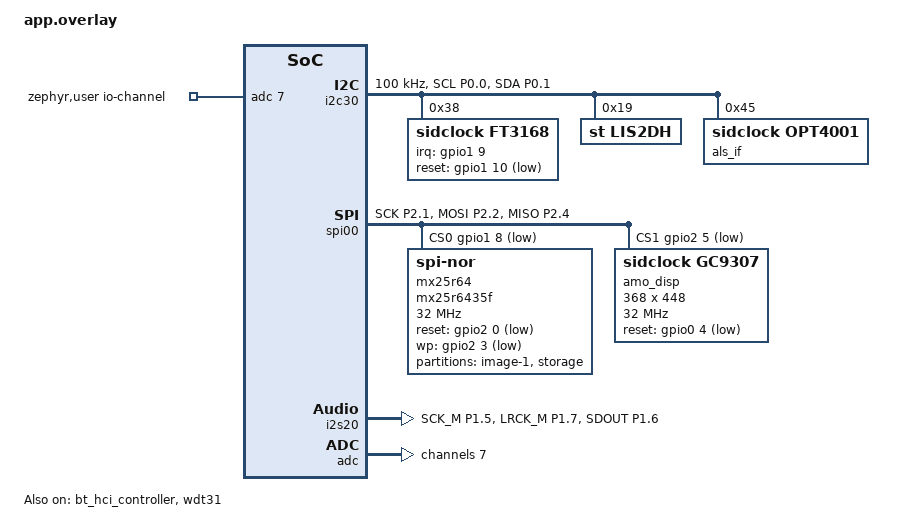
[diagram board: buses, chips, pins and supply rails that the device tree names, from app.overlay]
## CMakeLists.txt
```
cmake_minimum_required(VERSION 3.20.0)

find_package(Zephyr REQUIRED HINTS $ENV{ZEPHYR_BASE})
project(sidclock)

# The panel driver is out-of-tree (custom SPI framing); compile it with the
# application.
# SID emulator selection: "crsid" (default, cRSID-1.58 Light, integer-only,
# more accurate), "csid" (the original cSID-light) or "dual" (both linked,
# per-tune switchable at runtime sharing one 64 KB C64 RAM - only one runs
# at a time). For A/B comparison or heavy-tune fallback.
# From build.sh (-DSIDCLOCK_SID_ENGINE=, env-backed) or plain CMake -D; the
# cache persists across rebuilds (change with -D, not the environment).
if(NOT SIDCLOCK_SID_ENGINE MATCHES "^(csid|dual|crsid)$")
    set(SIDCLOCK_SID_ENGINE "$ENV{SIDCLOCK_SID_ENGINE}")
endif()
if(NOT SIDCLOCK_SID_ENGINE MATCHES "^(csid|dual|crsid)$")
    set(SIDCLOCK_SID_ENGINE "dual")
endif()
message(STATUS "SidClock SID engine: ${SIDCLOCK_SID_ENGINE}")

if(SIDCLOCK_SID_ENGINE STREQUAL "csid")
    set(SID_ENGINE_SRCS src/sid/libcsidlight.cpp)
    set(SID_ENGINE_FLAGS "-O3;-funroll-loops")
    set(SID_ENGINE_SUFFIX "-csid")
elseif(SIDCLOCK_SID_ENGINE STREQUAL "dual")
    set(SID_ENGINE_SRCS src/sid/libcrsid_shim.c src/sid/crsid/libcRSID.c src/sid/libcsidlight.cpp)
    set(SID_ENGINE_FLAGS "-O3;-funroll-loops")
    set(SID_ENGINE_SUFFIX "")
    target_compile_definitions(app PRIVATE SID_ENGINE_DUAL)
else()
    set(SID_ENGINE_SRCS src/sid/libcrsid_shim.c src/sid/crsid/libcRSID.c)
    set(SID_ENGINE_FLAGS "-O3;-funroll-loops;-std=gnu99")
    set(SID_ENGINE_SUFFIX "-crsid")
endif()
target_compile_definitions(app PRIVATE SID_ENGINE_SUFFIX="${SID_ENGINE_SUFFIX}")
# Split engine (M33 CPU + FLPR SID): adds the hooks in the vendored core.
target_compile_definitions(app PRIVATE CRSID_SPLIT)

target_sources(app PRIVATE
    src/main.c
    src/display_gc9307.c
    src/opt400x.c
    src/audio.c
    src/flpr.c
    src/md5.c
    src/sid_player.cpp
    ${SID_ENGINE_SRCS}
)

# FLPR (VPR RISC-V) shared-memory contract (flpr/flpr_shared.h) and the
# embedded bare-metal blob. The blob is linked straight in with .incbin
# (flpr/flpr_blob.S) - no per-byte C source. build.sh builds it first and
# passes its absolute path.
target_include_directories(app PRIVATE ${CMAKE_CURRENT_SOURCE_DIR}/flpr)
if(NOT DEFINED FLPR_BLOB_BIN)
    message(FATAL_ERROR
        "FLPR_BLOB_BIN is not set - build the FLPR blob first (app/build.sh)")
endif()
target_sources(app PRIVATE flpr/flpr_blob.S)
target_compile_definitions(app PRIVATE
    "FLPR_BLOB_FILE=\"${FLPR_BLOB_BIN}\"")
# .incbin is invisible to the compiler's depfile: make the object depend
# on the binary explicitly, or a rebuilt blob would not relink.
set_source_files_properties(flpr/flpr_blob.S PROPERTIES
    OBJECT_DEPENDS "${FLPR_BLOB_BIN}")

# The SID emulator is the only real-time-critical code in the app.
# "-O3;-funroll-loops" was A/B-proven on this M33 with the old core and
# re-validated for the cRSID core under M33 emulation (bit-identical output,
# ~1% faster than plain -O3). Render time is visible in debug bytes
# [13]/[14] (microseconds per 512 samples).
# The cRSID core also needs -std=gnu99 (it uses old-style declarations,
# which are hard errors under the toolchain default C23).
if(SIDCLOCK_SID_ENGINE STREQUAL "csid")
    set_source_files_properties(src/sid/libcsidlight.cpp
        PROPERTIES COMPILE_OPTIONS "${SID_ENGINE_FLAGS}")
elseif(SIDCLOCK_SID_ENGINE STREQUAL "dual")
    set_source_files_properties(src/sid/crsid/libcRSID.c
        PROPERTIES COMPILE_OPTIONS "-O3;-funroll-loops;-std=gnu99")
    # Dual build: the legacy core's libcsid_* API and shared globals are
    # renamed so the shim can dispatch between both engines; its C64 RAM
    # aliases cRSID's (see SID_ENGINE_DUAL in libcsidlight.cpp).
    set_source_files_properties(src/sid/libcsidlight.cpp
        PROPERTIES COMPILE_OPTIONS "-O3;-funroll-loops"
        COMPILE_DEFINITIONS "SID_ENGINE_DUAL;libcsid_init=csid_init;libcsid_free=csid_free;libcsid_load=csid_load;libcsid_play=csid_play;libcsid_render=csid_render;libcsid_getauthor=csid_getauthor;libcsid_getinfo=csid_getinfo;libcsid_gettitle=csid_gettitle;libcsid_get_total_tunes_number=csid_get_total_tunes_number;libcsid_get_default_tune_number=csid_get_default_tune_number;libcsid_stream_fill=csid_stream_fill;subtune=csid_subtune;SID_model=csid_SID_model;sid_frame_calls=csid_frame_calls;sid_cpu_calls=csid_sid_cpu_calls")
else()
    set_source_files_properties(src/sid/crsid/libcRSID.c
        PROPERTIES COMPILE_OPTIONS "${SID_ENGINE_FLAGS}")
endif()

# Version string shown on the display; build.sh passes -DSIDCLOCK_VERSION=<x.y.z>
# and uses the same value for the MCUboot image header.
if(NOT DEFINED SIDCLOCK_VERSION)
    set(SIDCLOCK_VERSION "dev")
endif()
target_compile_definitions(app PRIVATE SIDCLOCK_VERSION="${SIDCLOCK_VERSION}")

# Debug build (build.sh: SIDCLOCK_DEBUG=1 ./build.sh): compiles the bring-up
# test commands (test tones, rate/tone ladders, raw MCKFREQ) back in and
# selects the larger RTT log buffer via app/prj_debug.conf. Release builds
# leave them out (-0.5 KB RAM, and no test surface on a shipped unit) and
# show no suffix; debug images show "-dbg" next to the version. The signed
# image version stays the same either way, so OTA compares like-for-like.
if(SIDCLOCK_DEBUG)
    set(SIDCLOCK_DEBUG_SUFFIX "-dbg")
    target_compile_definitions(app PRIVATE SIDCLOCK_DEBUG=1)
else()
    set(SIDCLOCK_DEBUG_SUFFIX "")
endif()
message(STATUS "SidClock debug build: ${SIDCLOCK_DEBUG_SUFFIX}")
target_compile_definitions(app PRIVATE SIDCLOCK_DEBUG_SUFFIX="${SIDCLOCK_DEBUG_SUFFIX}")
```

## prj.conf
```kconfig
# SidClock — Zephyr application configuration

# --- logging over SEGGER RTT (no UART on this board) ---
CONFIG_USE_SEGGER_RTT=y
CONFIG_LOG=y
CONFIG_LOG_BACKEND_RTT=y
# The software BLE link layer does not allow immediate logging, and the RTT
# backend must not block. OVERWRITE (not DROP) keeps the *newest* lines in
# the up-buffer: when a line does not fit it discards the oldest unread
# bytes, where DROP would keep that stale text and throw every new line
# away. The buffer is read back over BLE by the `1E` debug command
# (tools/sidclock_ble.py log) - nothing else drains it.
CONFIG_LOG_BACKEND_RTT_MODE_OVERWRITE=y
CONFIG_LOG_DEFAULT_LEVEL=3
# Keep DBG messages (e.g. one line per SPI transaction) out of the build so
# the RTT buffer is not flooded by display traffic.
CONFIG_LOG_MAX_LEVEL=3
# RTT buffer in the shared region at the start of RAM (.rtt_buff_data,
# CONFIG_SEGGER_RTT_SECTION_CUSTOM): MCUboot writes its boot decision into
# the same buffer before it starts the app, and the app keeps a valid
# control block instead of re-initialising one (CONFIG_SEGGER_RTT_INIT_MODE_
# STRONG_CHECK), so a reset's log starts with the bootloader's lines. The
# size must be identical in the app and in the bootloader: it decides where
# the control block sits (the up-buffer comes first), and a mismatch would
# put the two images' control blocks at different addresses. Debug builds
# use the same size (app/prj_debug.conf no longer changes it).
CONFIG_SEGGER_RTT_BUFFER_SIZE_UP=8192

CONFIG_MAIN_STACK_SIZE=4096
# No dynamic allocation anywhere in the app: nothing in the image calls
# malloc()/k_malloc()/k_calloc()/operator new (verified in the linked ELF),
# so the 8 KB system heap was dead weight - keep it out of RAM.
# See docs/architecture.md ("RAM budget").
CONFIG_HEAP_MEM_POOL_SIZE=0

# --- thread stack diagnostics: per-thread high-water marks for the
# stack-overflow hunt + MPU guard pages turning a silent overflow into a
# diagnosable HardFault (watch RAM: ~860 B free). The 0x1D telemetry walks
# the thread list itself (see main.c), so the thread analyzer subsys is not
# needed - only the pieces it used to select.
CONFIG_INIT_STACKS=y
CONFIG_THREAD_MONITOR=y
CONFIG_THREAD_STACK_INFO=y
CONFIG_THREAD_NAME=y
CONFIG_HW_STACK_PROTECTION=y

# --- hang safety net: independent watchdog (30 s, fed from the main loop)
# plus retained crash telemetry (see main.c). Any wedged thread stops the
# loop (directly or via a stuck lock) and reboots instead of freezing.
CONFIG_WATCHDOG=y
CONFIG_HWINFO=y

# --- display ---
CONFIG_DISPLAY=y

# --- buses ---
CONFIG_SPI=y
CONFIG_I2C=y

# --- external flash (OTA secondary slot) ---
CONFIG_FLASH=y
CONFIG_FLASH_MAP=y
CONFIG_FLASH_PAGE_LAYOUT=y
CONFIG_SPI_NOR=y
CONFIG_SPI_NOR_SFDP_RUNTIME=y
# The MX25R64 reports 64 KB blocks by default, but the slot (0x151000) is not
# a multiple of 64 KB. With 64 KB "pages" the progressive-erase trailer
# scramble erases past the end of the slot (FLASH_WRITE_FAILED) and slot
# erases can spill into the LittleFS partition. 4 KB matches the hardware
# sector size and the bootloader build.
CONFIG_SPI_NOR_FLASH_LAYOUT_PAGE_SIZE=4096

# --- accelerometer ---
CONFIG_SENSOR=y
CONFIG_LIS2DH=y

# --- battery monitor (nRF SAADC, AIN7) ---
CONFIG_ADC=y

# --- speaker: I2S to the amplifier (AW88082 pinout in app.overlay) ---
CONFIG_I2S=y

# --- power management ---
# The nRF54L15 port of this Zephyr tree does not implement the system PM
# subsystem (no HAS_PM), so CONFIG_PM / CONSTLAT idle states are not
# available. The kernel still runs WFI in its idle thread and uses a
# tickless clock (TICKLESS_CAPABLE default).
CONFIG_TICKLESS_KERNEL=y

# --- Bluetooth + MCUmgr (BLE OTA) ---
CONFIG_BT=y
CONFIG_BT_PERIPHERAL=y
CONFIG_BT_DEVICE_NAME="SidClock"
# No mbedTLS in this minimal setup; host crypto is not needed for
# advertising + unpaired MCUmgr/SMP. bt_rand() is provided by the app
# through the controller (see main.c).
CONFIG_BT_HOST_CRYPTO=n
CONFIG_BT_SMP=n
# PSA crypto RNG driver would need mbedTLS; the split LL gets entropy
# through CONFIG_ENTROPY_BT_HCI instead.
CONFIG_ENTROPY_PSA_CRYPTO_RNG=n
CONFIG_BT_L2CAP_TX_MTU=247
CONFIG_BT_BUF_ACL_RX_SIZE=251
CONFIG_BT_BUF_ACL_TX_SIZE=251

# OTA throughput: the split link layer defaults (27-byte data length,
# 1 RX buffer) cripple uploads; DLE + more buffers fix the throughput.
CONFIG_BT_CTLR_DATA_LENGTH_MAX=251
CONFIG_BT_CTLR_RX_BUFFERS=8
CONFIG_BT_BUF_ACL_TX_COUNT=8
CONFIG_BT_PERIPHERAL_PREF_MIN_INT=12
CONFIG_BT_PERIPHERAL_PREF_MAX_INT=12
CONFIG_BT_PERIPHERAL_PREF_TIMEOUT=400
CONFIG_BT_USER_DATA_LEN_UPDATE=y
CONFIG_BT_USER_PHY_UPDATE=y
# Runtime (un)registration of the mcumgr SMP service - the UI's BLE R/O
# and BLE OFF modes drop OTA/file/os-mgmt over BLE.
CONFIG_BT_GATT_DYNAMIC_DB=y

CONFIG_MCUMGR=y
CONFIG_MCUMGR_TRANSPORT_BT=y
CONFIG_MCUMGR_GRP_IMG=y
CONFIG_MCUMGR_GRP_OS=y
# Report the local SMP buffer size via the "MCUmgr parameters" command.
# Without it, smpmgr falls back to the ATT MTU (247 B) for packet sizing and
# each round trip only carries ~220 B of image data.
CONFIG_MCUMGR_GRP_OS_MCUMGR_PARAMS=y
# Accept SMP packets split across multiple GATT writes (needed for >247 B
# packets while the ATT MTU stays 247).
CONFIG_MCUMGR_TRANSPORT_BT_REASSEMBLY=y
CONFIG_MCUMGR_TRANSPORT_NETBUF_SIZE=2048
CONFIG_MCUMGR_TRANSPORT_WORKQUEUE_STACK_SIZE=4096
# zcbor CBOR library (dependency of MCUmgr; the module is in ZEPHYR_MODULES)
CONFIG_ZCBOR=y

CONFIG_IMG_MANAGER=y
CONFIG_STREAM_FLASH=y
# Erase the secondary slot page-by-page while receiving, instead of erasing
# the whole slot (985 KB, 10+ s) inside the first upload request.
CONFIG_IMG_ERASE_PROGRESSIVELY=y
CONFIG_REBOOT=y

# Chain-loaded by MCUboot: link the app at code-partition + 0x800 header,
# matching the bootloader's image layout (0x800 header before the vectors).
CONFIG_USE_DT_CODE_PARTITION=y
CONFIG_ROM_START_OFFSET=0x800

# No UART on this board - the DK console UART (uart20) claims the I2S
# amplifier pins (P1.04/P1.06). Logging goes over SEGGER RTT.
CONFIG_SERIAL=n

# LittleFS on the external MX25R64 ("storage" partition), served over BLE
# by MCUmgr fs_mgmt (smpmgr file ...) for uploading tunes and settings.
CONFIG_FILE_SYSTEM=y
CONFIG_FILE_SYSTEM_LITTLEFS=y
CONFIG_MCUMGR_GRP_FS=y
CONFIG_MCUMGR_GRP_FS_MAX_FILE_SIZE_4GB=y
CONFIG_FLASH_MAP=y
# LittleFS metadata walks were the hidden cost behind the listing stutter:
# a 64-byte cache made /home scans a burst of tiny SPI reads (~0.5 s for
# ~90 files). 256 bytes cuts that ~4x (and uploads program 256-byte
# chunks instead of 16) for ~1.1 KB of RAM. 1024 bytes was measured too:
# no further gain for the listing walk, so the RAM stays with the app.
CONFIG_FS_LITTLEFS_CACHE_SIZE=256
# File-access hooks: fs_mgmt uploads restart the /home listing walk, so a
# refresh right after an upload sees the new file.
CONFIG_MCUMGR_MGMT_NOTIFICATION_HOOKS=y
CONFIG_MCUMGR_GRP_FS_FILE_ACCESS_HOOK=y

# C++ (vendored cSID-light SID emulator)
CONFIG_CPP=y

# FLPR (VPR RISC-V) bare-metal blob: it must NOT start at boot
# (NORDIC_VPR_LAUNCHER=n). The blob starts on demand - debug command
# 0x30 for testing; see app/flpr.overlay and docs/flpr.md.
CONFIG_NORDIC_VPR_LAUNCHER=n

# Hardware FPU: the SID emulator's hot paths are single-precision float
# (6510 cycle accounting, SID filter). With soft-float a 512-sample render
# took ~30 ms - over the 23 ms EasyDMA buffer period - so the DMA starved
# and kept replaying buffers (audible as a slow, stuttering tune).
CONFIG_FPU=y

# Crash resilience while bringing up the SID player. The debug GATT
# callbacks run on the BT RX workqueue: the /home listing page and file
# delete walk LittleFS there, they alone use ~800 B on top of the host's
# own frames, and 2048 B once overflowed under a web session (the
# listing now serves pages from RAM, see main.c). 2560 leaves ~1.7 KB
# free after a delete.
CONFIG_BT_RX_STACK_SIZE=2560
```

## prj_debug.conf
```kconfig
# SidClock - debug build fragment (SIDCLOCK_DEBUG=1 ./build.sh)
#
# This fragment is only applied for debug builds; the default build is the
# slimmer release configuration (see prj.conf). It is the place for options
# that cost RAM and are only useful while bringing something up or chasing a
# bug on the bench:
#
#   * SIDCLOCK_DEBUG switches on the bring-up test commands in the firmware
#     (test tones, rate/tone ladders, raw MCKFREQ - see audio.c and main.c),
#     which the release builds compile out.
#
# The SEGGER RTT log buffer size is *not* changed here: it lives in the
# shared RAM region both the bootloader and the app use, and the control
# block's address depends on it, so release and debug must keep the same
# value (see the comment in prj.conf).
#
# Debug images show "-dbg" in the on-display version string; the signed image
# version stays the same, so OTA still compares like-for-like.
```

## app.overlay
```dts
/*
 * SidClock hardware overlay for the Saphe T device (nRF54L15):
 * pin map and flash partition layout.
 */

#include <zephyr/dt-bindings/gpio/gpio.h>
#include <zephyr/dt-bindings/i2c/i2c.h>
#include <zephyr/dt-bindings/pinctrl/nrf-pinctrl.h>
#include <zephyr/dt-bindings/adc/adc.h>
#include <zephyr/dt-bindings/adc/nrf-saadc-nrf54l.h>

/ {
	chosen {
		zephyr,code-partition = &slot0_partition;
		zephyr,display = &amo_disp;
		/* use the built-in split LL and the controller-based RNG,
		 * not the (unavailable) SoftDevice Controller / PSA RNG */
		zephyr,bt-hci = &bt_hci_controller;
		zephyr,entropy = &rng_hci;
	};

	/* Battery monitor channel (AIN7) */
	zephyr,user {
		io-channels = <&adc 7>;
	};
};

/* ---------------- internal RRAM partitions ---------------- */
&cpuapp_rram {
	partitions {
		/* drop the nRF54L15-DK defaults */
		/delete-node/ partition@0;
		/delete-node/ partition@10000;
		/delete-node/ partition@61000;
		/delete-node/ partition@b2000;
		/delete-node/ partition@103000;
		/delete-node/ partition@15c000;

		boot_partition: partition@0 {
			label = "mcuboot";
			reg = <0x0 0xE000>;
		};

		slot0_partition: partition@E000 {
			label = "image-0";
			reg = <0xE000 0x151000>;
		};
	};
};

/* ---------------- pin control ---------------- */
&pinctrl {
	i2c30_default: i2c30_default {
		group1 {
			psels = <NRF_PSEL(TWIM_SCL, 0, 0)>,
				<NRF_PSEL(TWIM_SDA, 0, 1)>;
			bias-pull-up;
			nordic,drive-mode = <NRF_DRIVE_S0D1>;
		};
	};

	i2c30_sleep: i2c30_sleep {
		group1 {
			psels = <NRF_PSEL(TWIM_SCL, 0, 0)>,
				<NRF_PSEL(TWIM_SDA, 0, 1)>;
			low-power-enable;
		};
	};

	spi00_default: spi00_default {
		group1 {
			psels = <NRF_PSEL(SPIM_SCK,  2, 1)>,
				<NRF_PSEL(SPIM_MOSI, 2, 2)>,
				<NRF_PSEL(SPIM_MISO, 2, 4)>;
			nordic,drive-mode = <NRF_DRIVE_E0E1>;
		};
	};

	spi00_sleep: spi00_sleep {
		group1 {
			psels = <NRF_PSEL(SPIM_SCK,  2, 1)>,
				<NRF_PSEL(SPIM_MOSI, 2, 2)>,
				<NRF_PSEL(SPIM_MISO, 2, 4)>;
			low-power-enable;
		};
	};

	/* I2S20 to the speaker amplifier. AW88082 pinout (rev 1/2/default):
	 * SCK P1.05, LRCK P1.07, SDOUT P1.06. Amp enable (P1.04) is a plain
	 * GPIO driven by the audio module, not part of this pinctrl.
	 */
	i2s20_aw_default: i2s20_aw_default {
		group1 {
			psels = <NRF_PSEL(I2S_SCK_M,  1, 5)>,
				<NRF_PSEL(I2S_LRCK_M, 1, 7)>,
				<NRF_PSEL(I2S_SDOUT,  1, 6)>;
			nordic,drive-mode = <NRF_DRIVE_H0H1>;
		};
	};

	i2s20_aw_sleep: i2s20_aw_sleep {
		group1 {
			psels = <NRF_PSEL(I2S_SCK_M,  1, 5)>,
				<NRF_PSEL(I2S_LRCK_M, 1, 7)>,
				<NRF_PSEL(I2S_SDOUT,  1, 6)>;
			low-power-enable;
		};
	};
};

/* ---------------- Bluetooth controller (split LL) ---------------- */
&bt_hci_controller {
	status = "okay";
};

/* ---------------- I2C30: touch + accelerometer ---------------- */
&i2c30 {
	status = "okay";
	pinctrl-0 = <&i2c30_default>;
	pinctrl-1 = <&i2c30_sleep>;
	pinctrl-names = "default", "sleep";
	clock-frequency = <I2C_BITRATE_STANDARD>;

	ft3168: touch@38 {
		compatible = "sidclock,ft3168";
		reg = <0x38>;
		irq-gpios   = <&gpio1 9  GPIO_ACTIVE_HIGH>;
		reset-gpios = <&gpio1 10 GPIO_ACTIVE_LOW>;
		status = "okay";
	};

	lis2dh: accel@19 {
		compatible = "st,lis2dh";
		reg = <0x19>;
		status = "okay";
	};

	als_if: als_if@45 {
		compatible = "sidclock,opt4001";
		reg = <0x45>;
		status = "okay";
	};
};

/* ---------------- SPIM00: display + external flash ---------------- */
&spi00 {
	status = "okay";
	pinctrl-0 = <&spi00_default>;
	pinctrl-1 = <&spi00_sleep>;
	pinctrl-names = "default", "sleep";

	cs-gpios = <&gpio1 8 GPIO_ACTIVE_LOW>,   /* flash   */
		   <&gpio2 5 GPIO_ACTIVE_LOW>;   /* display */

	/* external MX25R64: OTA secondary slot */
	mx25r64: mx25r6435f@0 {
		compatible = "jedec,spi-nor";
		status = "okay";
		reg = <0>;
		spi-max-frequency = <32000000>;
		size = <0x2000000>;
		reset-gpios = <&gpio2 0 GPIO_ACTIVE_LOW>;
		wp-gpios = <&gpio2 3 GPIO_ACTIVE_LOW>;

		partitions {
			compatible = "fixed-partitions";
			#address-cells = <1>;
			#size-cells = <1>;

			slot1_partition: partition@0 {
				label = "image-1";
				reg = <0x0 0x151000>;
			};

			storage_partition: partition@151000 {
				label = "storage";
				reg = <0x151000 0x2AF000>;
			};
		};
	};

	/* SH8601 AMOLED panel (368x448, QSPI-style framing over SPI) */
	amo_disp: amo_disp@1 {
		compatible = "sidclock,gc9307";
		reg = <1>;
		spi-max-frequency = <32000000>;
		reset-gpios = <&gpio0 4 GPIO_ACTIVE_LOW>;
		width = <368>;
		height = <448>;
		status = "okay";
	};
};

/* ---------------- I2S20: speaker amplifier ---------------- */
&i2s20 {
	status = "okay";
	pinctrl-0 = <&i2s20_aw_default>;
	pinctrl-1 = <&i2s20_aw_sleep>;
	pinctrl-names = "default", "sleep";
	clock-source = "PCLK32M_HFXO";
};

/* Battery voltage on AIN7: gain 2/3, internal 0.6 V ref, 10-bit, 15 us. */
&adc {
	status = "okay";
	#address-cells = <1>;
	#size-cells = <0>;

	channel@7 {
		reg = <7>;
		zephyr,gain = "ADC_GAIN_2_3";
		zephyr,reference = "ADC_REF_INTERNAL";
		zephyr,acquisition-time = <ADC_ACQ_TIME(ADC_ACQ_TIME_MICROSECONDS, 15)>;
		zephyr,input-positive = <NRF_SAADC_AIN7>;
		zephyr,resolution = <10>;
		zephyr,oversampling = <0>;
	};
};

/* The DK assigns its console UART (uart20) to P1.04 (TX), P1.05 (RX),
 * P1.06 (RTS) and P1.07 (CTS) - and it drives TX/RTS high/low from boot.
 * Those are the I2S amplifier pins: uart20 was holding P1.06 (SDOUT) low
 * and P1.04 high, which is why the amplifier never saw any data while the
 * SCK/LRCK (its input pins) worked fine. No UART is wired on this board;
 * logging goes over SEGGER RTT, so the console UART is disabled entirely.
 */
&uart20 {
	status = "disabled";
};

/* Independent watchdog for the hang safety net (see crash telemetry in
 * main.c): 30 s window fed from the main loop; any wedged thread that
 * stops the loop (directly or via a stuck lock) reboots the device and
 * the retained log tells what was running. */
&wdt31 {
	status = "okay";
};
```

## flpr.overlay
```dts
/*
 * flpr.overlay - FLPR (VPR RISC-V) resources for the bare-metal engine.
 *
 * Deliberately not the nordic-flpr snippet: the blob is embedded in the
 * M33 image as flpr_blob[] (position-independent, XIP wherever the
 * linker put it), so there is no fixed flash partition and nothing to
 * launch at boot (NORDIC_VPR_LAUNCHER=n). Only the FLPR-side SRAM is
 * reserved here - the M33 never links any of it:
 *
 *   SRAM  0x2002F000-0x2003CFFF (56 KB) hot engine code (cRSID_emulateC64)
 *   SRAM  0x2003D000-0x2003EFFF (8 KB)  PCM ring (FLPR -> M33 audio)
 *   SRAM  0x2003F000-0x2003FBFF (3 KB)  FLPR private RAM, 1 KB stack on top
 *   SRAM  0x2003FC00-0x2003FFFF (1 KB)  shared control struct
 *
 * Runtime start/stop from the M33 goes through hal/nrf_vpr.h (src/flpr.c).
 * blob_audit.py --check-ram verifies this map against flpr_shared.h.
 */

/ {
	soc {
		reserved-memory {
			#address-cells = <1>;
			#size-cells = <1>;
			flpr_code_ram: memory@2002f000 {
				reg = <0x2002F000 0xE000>;
			};
			flpr_ring_ram: memory@2003d000 {
				reg = <0x2003D000 0x2000>;
			};
			flpr_priv_ram: memory@2003f000 {
				reg = <0x2003F000 0xC00>;
			};
			flpr_shared_ram: memory@2003fc00 {
				reg = <0x2003FC00 0x400>;
			};
		};
	};
};

&cpuapp_vevif_tx {
	status = "okay";
};

/* Keep the UART free for the FLPR side (no UART is wired on this board;
 * logging goes over RTT/BLE either way). */
&uart30 {
	status = "reserved";
};
```

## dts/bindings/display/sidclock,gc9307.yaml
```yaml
description: GC9307 / SH8601 AMOLED panel (368x448), QSPI-style framing over SPI
compatible: "sidclock,gc9307"

include: [spi-device.yaml]

properties:
  reset-gpios:
    type: phandle-array
    required: true
  width:
    type: int
    required: true
  height:
    type: int
    required: true
```

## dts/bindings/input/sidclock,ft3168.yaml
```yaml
description: FocalTech FT3168 touch controller (I2C)
compatible: "sidclock,ft3168"

include: [i2c-device.yaml]

properties:
  reset-gpios:
    type: phandle-array
    required: true
  irq-gpios:
    type: phandle-array
    required: false
```

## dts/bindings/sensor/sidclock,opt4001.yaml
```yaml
description: TI OPT3007/OPT4001 ambient light sensor
compatible: "sidclock,opt4001"

include: [sensor-device.yaml, i2c-device.yaml]
```

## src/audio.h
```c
/*
 * audio.h - speaker output for the SidClock (DOOM-port engine model:
 * direct I2S register writes, polled double buffering, no interrupts).
 */
#ifndef AUDIO_H_
#define AUDIO_H_

#include <stdbool.h>
#include <stdint.h>

int audio_init(void);

/* Mute/unmute by sending zeros - the board's amp has no enable pin. */
void audio_set_enabled(bool enable);

/* 0..255, applied when tones are synthesised. */
void audio_set_volume(uint8_t volume);

/* Write a single byte of the debug snapshot (e.g. UI diagnostics). */
void audio_dbg_byte(int i, uint8_t v);

/* Split-engine SID render rate override (0 = the SID-count default). */
void audio_set_split_rate(uint32_t hz);

/* Hang-triage heartbeat, called once per audio-thread loop (see main.c). */
void dbg_heartbeat_audio(void);

/*
 * Bring-up test signals: compiled in for debug builds only
 * (SIDCLOCK_DEBUG=1 ./build.sh). Release images have no test-tone
 * generator, and the debug commands behind these are rejected.
 */
#ifdef SIDCLOCK_DEBUG
void audio_click(void);
void audio_beep(void);
void audio_long_tone(void);

/* Sample-rate ladder step for finding the amplifier's turn-on point. */
void audio_rate_next(void);

/* Tone-frequency ladder step (2 beeps at the current sample rate). */
void audio_tone_next(void);

/* Direct set: sample rate (1000..96000) / tone frequency (100..30000). */
void audio_set_rate(uint32_t hz);
void audio_set_tone(uint32_t hz);

/* Steady tone: seconds = 0 plays until audio_tone_release(). */
void audio_tone_hold(uint32_t hz, uint32_t seconds);
void audio_tone_release(void);

/* Calibration: raw MCKFREQ override (0 restores the computed value). */
void audio_set_mck_raw(uint32_t v);
#endif /* SIDCLOCK_DEBUG */

/* SID emulator playback mode (see sid_player.h). */
void audio_sid_start(void);
void audio_sid_stop(void);

/* Split engine (FLPR runs the C64/CPU, the M33 the SID stage): the M33
 * renders the SID stage from the blob's cycle counts and SID-write
 * events in the fill path. */

/*
 * Debug snapshot for the BLE debug characteristic:
 *   [0] ready  [1] init_rc  [2] FLPR pipe underruns
 *   [3] pipe active  [4]+[12] pipe taken-peak u16 LE
 *   [6] enabled  [7] volume  [9] play attempts
 *   [17] tone buffers left  [18] amp combo  [19] combo flags
 */
const uint8_t *audio_debug(void);

/* Worst audio-loop gap since the previous call (ms, low byte). */
uint8_t audio_take_stall(void);

/* Fill the I2S register block of the BLE debug snapshot (absolute offsets
 * from proto_gen.h): [20..31] PSEL, [32] ENABLE, [33] TXEN. */
void audio_read_hw(uint8_t *snap);

/* Fill the diagnostics block of the debug snapshot: [34] pin activity mask,
 * [36..37] DMA buffer peak, [38..45] first word of each DMA buffer,
 * [46..68] I2S config, MCKFREQ, bus errors and configured rate. */
void audio_diag(uint8_t *snap);

#endif /* AUDIO_H_ */
```

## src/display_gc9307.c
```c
/*
 * display_gc9307.c — SPI panel driver for the 368x448 AMOLED/LCD display
 *                    (SH8601-class and GC9307 panels).
 *
 * The panel is driven with QSPI-style framing over SPIM (no D/C pin): every
 * transfer is prefixed with a 4-byte header (0x02 0x00 <cmd> 0x00) and the
 * panel is selected by CS index 1 of the SPI controller's cs-gpios. The
 * driver implements the Zephyr display API (write, blanking, brightness,
 * orientation) plus panel_state() for the power states used by the UI:
 * 0 = off/sleep-in, 1 = full reset + re-init, 2 = standby.
 *
 * Hardware:
 *   - Panel: 368x448, RGB565, SPIM00 at 32 MHz.
 *   - Reset: P0.04 (active low).
 *   - Panel power enable: P0.02 (plain GPIO, driven high at init).
 *
 * Panel revisions differ (AMOLED vs LCD, two vendor variants); the init
 * sequence below matches this hardware. See docs/hardware.md for variants.
 */

#define DT_DRV_COMPAT sidclock_gc9307

#include <zephyr/kernel.h>
#include <zephyr/device.h>
#include <zephyr/drivers/spi.h>
#include <zephyr/drivers/gpio.h>
#include <zephyr/drivers/display.h>
#include <zephyr/logging/log.h>

#include "display_gc9307.h"

LOG_MODULE_REGISTER(sidclock_gc9307, CONFIG_DISPLAY_LOG_LEVEL);

/* Fill-screen geometry (92-pixel column bands) */
#define GC9307_FILL_BAND_WIDTH   0x5CU /* 92 pixels per column band           */
#define GC9307_FILL_CHUNK_SIZE   0x170U/* 368 bytes = 2 rows x 92 px x 2 bytes */
#define GC9307_FILL_ROW_STEP     2U    /* rows written per window              */
#define GC9307_FILL_ROWS         0x1C0U/* 448 rows in total                    */

/* Delay values observed in the binary (k_sleep() argument, in ticks) */
#define GC9307_DELAY_RESET_MS     0x291U /* 657 ticks ~ 20.0 ms */
#define GC9307_DELAY_POWER_MS     0x1D5U /* 469 ticks ~ 14.3 ms */
#define GC9307_DELAY_SLEEP_OUT    0xC35U /* 3125 ticks ~ 95.4 ms */
#define GC9307_DELAY_PANEL_OFF    0x139U /* 313 ticks ~ 9.6 ms */

struct gc9307_config {
	/* SPI bus + config + CS (CS index 1 on the shared SPIM00) */
	struct spi_dt_spec spi;
	/* Panel reset line (P0.04) */
	struct gpio_dt_spec reset;
	/* Panel geometry (368x448) */
	uint16_t width;  /* 0x170 = 368 */
	uint16_t height; /* 0x1C0 = 448 */
};

struct gc9307_data {
	uint16_t x_offset;   /* added to every window X (0 in the original) */
	uint16_t y_offset;   /* added to every window Y (0 in the original) */
	uint8_t brightness;  /* last brightness written via cmd 0x51 */
	uint8_t orientation; /* enum display_orientation, stored only */
	uint8_t rotation;    /* last MADCTL rotation (enum gc9307_rotation) */
};

/* Forward declarations (panel_state is referenced from outside this file) */
static int gc9307_init(const struct device *dev);
int gc9307_panel_state(const struct device *dev, int state);

/* ---------------------------------------------------------------- */
/* Low level transport                                              */
/* ---------------------------------------------------------------- */

/* Low-level transfer on the panel bus */
static int gc9307_spi_tx(const struct gc9307_config *config,
			 const struct spi_buf_set *tx)
{
	return spi_transceive(config->spi.bus, &config->spi.config, tx, NULL);
}

/*
 * Send one command frame:
 *   buffer 0: 02 00 <cmd> 00     (QSPI-style write opcode + command)
 *   buffer 1: <data>, len bytes  (optional)
 * The frame is repeated `repeat` times when needed (used for the 0x3C
 * "memory write continue" path).
 */
static int gc9307_write_bufs(const struct device *dev, uint8_t cmd,
			     const void *data, size_t len, uint32_t repeat)
{
	const struct gc9307_config *config = dev->config;
	uint8_t header[4] = {0x02U, 0x00U, cmd, 0x00U};
	struct spi_buf bufs[2] = {
		{ .buf = header,       .len = sizeof(header) },
		{ .buf = (void *)data, .len = len            },
	};
	struct spi_buf_set tx = { .buffers = bufs, .count = ARRAY_SIZE(bufs) };
	int ret = 0;

	do {
		ret = gc9307_spi_tx(config, &tx);
	} while (--repeat > 0U);

	return ret;
}

static int gc9307_write_cmd(const struct device *dev, uint8_t cmd,
			    const void *data, size_t len)
{
	return gc9307_write_bufs(dev, cmd, data, len, 1U);
}

/*
 * Set the column (0x2A) and row (0x2B) address window.
 * Both coordinates are byteswapped to big-endian before transmission.
 */
static int gc9307_set_window(const struct device *dev, uint16_t x, uint16_t y,
			     uint16_t width, uint16_t height)
{
	const struct gc9307_data *data = dev->data;
	uint16_t x0 = x + data->x_offset;
	uint16_t x1 = x0 + width - 1U;
	uint16_t y0 = y + data->y_offset;
	uint16_t y1 = y0 + height - 1U;
	uint8_t buf[4];

	buf[0] = (uint8_t)(x0 >> 8);
	buf[1] = (uint8_t)x0;
	buf[2] = (uint8_t)(x1 >> 8);
	buf[3] = (uint8_t)x1;
	gc9307_write_cmd(dev, 0x2AU, buf, sizeof(buf));

	buf[0] = (uint8_t)(y0 >> 8);
	buf[1] = (uint8_t)y0;
	buf[2] = (uint8_t)(y1 >> 8);
	buf[3] = (uint8_t)y1;
	return gc9307_write_cmd(dev, 0x2BU, buf, sizeof(buf));
}

/* ---------------------------------------------------------------- */
/* display_driver_api                                               */
/* ---------------------------------------------------------------- */

/* display_driver_api.write */
static int gc9307_write(const struct device *dev, const uint16_t x,
			const uint16_t y,
			const struct display_buffer_descriptor *desc,
			const void *buf)
{
	gc9307_set_window(dev, x, y, desc->width, desc->height);

	if (desc->pitch == 0U) {
		/* Tightly packed frame: one 0x2C transfer, RGB565 bytes */
		uint32_t bytes = (uint32_t)desc->width * desc->height * 2U;

		return gc9307_write_bufs(dev, 0x2CU, buf, bytes, 1U);
	}

	/*
	 * Row-wise path (pitch != 0): first row with 0x2C, then 0x3C
	 * ("memory write continue") repeated height-1 times with the same
	 * row buffer (pitch == 0 in practice).
	 */
	gc9307_write_bufs(dev, 0x2CU, buf, (uint32_t)desc->width * 2U, 1U);

	if (desc->height > 1U) {
		return gc9307_write_bufs(dev, 0x3CU, buf,
					 (uint32_t)desc->width * 2U,
					 desc->height - 1U);
	}

	return 0;
}

/* blanking is not supported by this panel */
static int gc9307_blanking_on(const struct device *dev)
{
	ARG_UNUSED(dev);
	return -ENOTSUP;
}

static int gc9307_blanking_off(const struct device *dev)
{
	ARG_UNUSED(dev);
	return -ENOTSUP;
}

/* reading back the panel is not supported */
static int gc9307_read(const struct device *dev, const uint16_t x,
		       const uint16_t y,
		       const struct display_buffer_descriptor *desc, void *buf)
{
	ARG_UNUSED(dev); ARG_UNUSED(x); ARG_UNUSED(y);
	ARG_UNUSED(desc); ARG_UNUSED(buf);
	return -ENOTSUP;
}

/* no framebuffer: the UI writes directly to the panel */
static void *gc9307_get_framebuffer(const struct device *dev)
{
	ARG_UNUSED(dev);
	return NULL;
}

/* brightness: cmd 0x51 + one data byte */
static int gc9307_set_brightness(const struct device *dev, uint8_t brightness)
{
	struct gc9307_data *data = dev->data;

	data->brightness = brightness;
	return gc9307_write_cmd(dev, 0x51U, &brightness, 1U);
}

/*
 * "Contrast" is implemented as a brightness offset:
 *   contrast == 0 -> re-send stored brightness
 *   contrast != 0 -> send stored brightness + 0x64, or - 0x64 if > 0x9A
 */
static int gc9307_set_contrast(const struct device *dev, uint8_t contrast)
{
	struct gc9307_data *data = dev->data;
	uint8_t value = data->brightness;

	if (contrast != 0U) {
		value = (value > 0x9AU) ? (uint8_t)(value - 0x64U)
					: (uint8_t)(value + 0x64U);
	}

	return gc9307_write_cmd(dev, 0x51U, &value, 1U);
}

/* orientation is stored in driver data (software rotation in the app) */
static int gc9307_set_orientation(const struct device *dev,
				  const enum display_orientation orientation)
{
	struct gc9307_data *data = dev->data;

	data->orientation = (uint8_t)orientation;
	return 0;
}

/*
 * Hardware rotation: 0x36 (MADCTL) swaps the column/row address space and
 * mirrors axes, so a 368x448 panel can be addressed as 448x368 landscape
 * without touching pixel data.
 */
static const uint8_t gc9307_madctl[4] = {
	0x00U, /* 0 deg                 */
	0x60U, /* 90 deg  (MV|MX)       */
	0xC0U, /* 180 deg (MX|MY)       */
	0xA0U, /* 270 deg (MV|MY)       */
};

int gc9307_set_rotation(const struct device *dev, enum gc9307_rotation rotation)
{
	struct gc9307_data *data = dev->data;
	uint8_t value = gc9307_madctl[(uint8_t)rotation & 0x03U];
	int rc = gc9307_write_cmd(dev, 0x36U, &value, 1U);

	if (rc == 0) {
		data->rotation = (uint8_t)rotation;
	}
	return rc;
}

/* 0x39 idle on / 0x38 idle off (reduced color expression). */
int gc9307_set_idle(const struct device *dev, bool on)
{
	return gc9307_write_cmd(dev, on ? 0x39U : 0x38U, NULL, 0U);
}

/* 0x49 AOD on / 0x48 AOD off (SH8601 always-on display mode). */
int gc9307_set_aod(const struct device *dev, bool on)
{
	return gc9307_write_cmd(dev, on ? 0x49U : 0x48U, NULL, 0U);
}

/*
 * Experimental frame-rate control. The GC9xxx family uses 0xE8 with a
 * "frame rate" parameter; SH8601 does not document a host-visible frame-rate
 * register, so on AMOLED units this is most likely ignored. Level 0 sends
 * the common default seen in GC9A01 inits, levels 1..4 step the division
 * parameter up (slower refresh).
 */
static const uint8_t gc9307_fr_table[5] = { 0x34U, 0x38U, 0x3CU, 0x3EU, 0x3FU };

int gc9307_set_frame_rate(const struct device *dev, uint8_t level)
{
	uint8_t value;

	if (level > 4U) {
		return -EINVAL;
	}
	value = gc9307_fr_table[level];
	return gc9307_write_cmd(dev, 0xE8U, &value, 1U);
}

/* display capabilities */
static void gc9307_get_capabilities(const struct device *dev,
				    struct display_capabilities *caps)
{
	const struct gc9307_config *config = dev->config;
	const struct gc9307_data *data = dev->data;

	memset(caps, 0, sizeof(*caps));
	caps->current_orientation = (enum display_orientation)data->orientation;

	/* Exactly as in the binary: normal/180 report HxW, 90/270 report WxH */
	if (data->orientation == DISPLAY_ORIENTATION_NORMAL ||
	    data->orientation == DISPLAY_ORIENTATION_ROTATED_180) {
		caps->x_resolution = config->height;
		caps->y_resolution = config->width;
	} else {
		caps->x_resolution = config->width;
		caps->y_resolution = config->height;
	}

	caps->supported_pixel_formats = PIXEL_FORMAT_RGB_565;
	caps->current_pixel_format = PIXEL_FORMAT_RGB_565;
	caps->screen_info = 0U;
}

/* pixel format: RGB565 only */
static int gc9307_set_pixel_format(const struct device *dev,
				   const enum display_pixel_format format)
{
	ARG_UNUSED(dev);
	if (format == PIXEL_FORMAT_RGB_565) {
		return 0;
	}
	LOG_ERR("Pixel format change not implemented");
	return -ENOTSUP;
}

/* ---------------------------------------------------------------- */
/* Panel initialization                                             */
/* ---------------------------------------------------------------- */

/* Clear the whole panel with black RGB565 pixels */
static void gc9307_clear_screen(const struct device *dev)
{
	uint8_t line[GC9307_FILL_CHUNK_SIZE];

	memset(line, 0, sizeof(line));

	for (uint16_t y = 0U; y < GC9307_FILL_ROWS; y += GC9307_FILL_ROW_STEP) {
		for (uint16_t x = 0U; x < 368U; x += GC9307_FILL_BAND_WIDTH) {
			gc9307_set_window(dev, x, y, GC9307_FILL_BAND_WIDTH,
					  GC9307_FILL_ROW_STEP);
			gc9307_write_bufs(dev, 0x2CU, line, sizeof(line), 1U);
		}
	}
}

/* Panel command initialization (runs after reset + power-up) */
static int gc9307_panel_init(const struct device *dev)
{
	struct gc9307_data *data = dev->data;
	uint8_t value;

	/* Sleep out, then wait for the panel to become ready */
	gc9307_write_cmd(dev, 0x11U, NULL, 0U);
	k_sleep(K_TICKS(GC9307_DELAY_SLEEP_OUT));

	/* Inter-register / command page enable */
	value = 0x00U;
	gc9307_write_cmd(dev, 0xFEU, &value, 1U);

	/* Panel specific control */
	value = 0x80U;
	gc9307_write_cmd(dev, 0xC4U, &value, 1U);

	/* Blank while clearing */
	value = 0x00U;
	gc9307_write_cmd(dev, 0x51U, &value, 1U);

	/* Pixel format: RGB565 */
	value = 0x55U;
	gc9307_write_cmd(dev, 0x3AU, &value, 1U);

	/* Full black frame */
	gc9307_clear_screen(dev);

	/* Display on */
	gc9307_write_cmd(dev, 0x29U, NULL, 0U);

	/* Driver state, then final brightness */
	data->orientation = DISPLAY_ORIENTATION_NORMAL;
	data->rotation = (uint8_t)GC9307_ROT_0;
	data->brightness = 0x80U;
	value = 0x80U;
	gc9307_write_cmd(dev, 0x51U, &value, 1U);

	return 0;
}

/*
 * Panel power states, exported for the UI:
 *   0 -> display off  (0x28, 0x10)
 *   1 -> full (re-)initialization (same as device init)
 *   2 -> display off + 0x4F/0x01 deep standby
 */
int gc9307_panel_state(const struct device *dev, int state)
{
	uint8_t standby = 0x01U;

	switch (state) {
	case 0:
		gc9307_write_cmd(dev, 0x28U, NULL, 0U);
		k_sleep(K_TICKS(GC9307_DELAY_PANEL_OFF));
		gc9307_write_cmd(dev, 0x10U, NULL, 0U);
		k_sleep(K_TICKS(GC9307_DELAY_PANEL_OFF));
		return 0;

	case 1:
		return gc9307_init(dev);

	case 2:
		gc9307_write_cmd(dev, 0x28U, NULL, 0U);
		k_sleep(K_TICKS(GC9307_DELAY_PANEL_OFF));
		gc9307_write_cmd(dev, 0x10U, NULL, 0U);
		k_sleep(K_TICKS(GC9307_DELAY_PANEL_OFF));
		gc9307_write_cmd(dev, 0x4FU, &standby, 1U);
		return 0;

	default:
		return -ENOTSUP;
	}
}

/*
 * Device init: reset pulse, panel power enable, panel command init.
 *   1. check SPI + reset GPIO ready
 *   2. configure reset as output
 *   3. reset = 1, sleep ~20 ms
 *   4. drive P0.02 high (panel power enable)
 *   5. sleep ~14 ms
 *   6. reset = 0, sleep ~14 ms
 *   7. panel command init
 */
static int gc9307_init(const struct device *dev)
{
	const struct gc9307_config *config = dev->config;

	if (!spi_is_ready_dt(&config->spi)) {
		LOG_ERR("SPI device not ready");
		return -ENODEV;
	}

	if (config->reset.port != NULL) {
		if (!gpio_is_ready_dt(&config->reset)) {
			LOG_ERR("Reset GPIO device not ready");
			return -ENODEV;
		}
		if (gpio_pin_configure_dt(&config->reset,
					  GPIO_OUTPUT_ACTIVE) != 0) {
			LOG_ERR("Couldn't configure reset pin");
			return -EIO;
		}

		gpio_pin_set_dt(&config->reset, 1);
	}
	k_sleep(K_TICKS(GC9307_DELAY_RESET_MS));

	/* Panel power enable: P0.02 (not present in the original DT) */
	{
		const struct device *p0 = DEVICE_DT_GET(DT_NODELABEL(gpio0));

		if (device_is_ready(p0)) {
			gpio_pin_configure(p0, 2, GPIO_OUTPUT_ACTIVE);
			gpio_pin_set(p0, 2, 1);
		}
	}

	k_sleep(K_TICKS(GC9307_DELAY_POWER_MS));

	if (config->reset.port != NULL) {
		gpio_pin_set_dt(&config->reset, 0);
	}
	k_sleep(K_TICKS(GC9307_DELAY_POWER_MS));

	/* The binary discards the panel init status and returns 0 */
	(void)gc9307_panel_init(dev);
	return 0;
}

/* ---------------------------------------------------------------- */
/* Driver registration                                              */
/* ---------------------------------------------------------------- */

static const struct display_driver_api gc9307_api = {
	.blanking_on = gc9307_blanking_on,
	.blanking_off = gc9307_blanking_off,
	.write = gc9307_write,
	.read = gc9307_read,
	.get_framebuffer = gc9307_get_framebuffer,
	.set_brightness = gc9307_set_brightness,
	.set_contrast = gc9307_set_contrast,
	.get_capabilities = gc9307_get_capabilities,
	.set_pixel_format = gc9307_set_pixel_format,
	.set_orientation = gc9307_set_orientation,
};

/*
 * Example devicetree node:
 *
 *   amo_disp: amo_disp@1 {
 *           compatible = "sidclock,gc9307";
 *           reg = <1>;                       // CS index 1 on SPIM00
 *           spi-max-frequency = <32000000>;
 *           reset-gpios = <&gpio0 4 GPIO_ACTIVE_HIGH>;
 *           width  = <368>;
 *           height = <448>;
 *   };
 */
#define GC9307_INIT(inst)							\
	static struct gc9307_data gc9307_data_##inst;				\
										\
	static const struct gc9307_config gc9307_config_##inst = {		\
		.spi = SPI_DT_SPEC_INST_GET(inst, SPI_WORD_SET(8), 0),		\
		.reset = GPIO_DT_SPEC_INST_GET(inst, reset_gpios),		\
		.width = DT_INST_PROP(inst, width),				\
		.height = DT_INST_PROP(inst, height),				\
	};									\
										\
	DEVICE_DT_INST_DEFINE(inst, gc9307_init, NULL,				\
			      &gc9307_data_##inst, &gc9307_config_##inst,	\
			      POST_KERNEL, CONFIG_DISPLAY_INIT_PRIORITY,	\
			      &gc9307_api);

DT_INST_FOREACH_STATUS_OKAY(GC9307_INIT)
```

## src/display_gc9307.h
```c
/*
 * Panel driver extensions (sidclock,gc9307 / SH8601-class).
 *
 * The generic Zephyr display API does not cover hardware rotation (MADCTL)
 * or the panel power states, which the demo UI needs.
 */
#ifndef DISPLAY_GC9307_H_
#define DISPLAY_GC9307_H_

#include <zephyr/device.h>

/* MADCTL address-space rotations (MV/MX/MY combinations). */
enum gc9307_rotation {
	GC9307_ROT_0 = 0,   /* portrait  368 x 448 */
	GC9307_ROT_90 = 1,  /* landscape 448 x 368 (MV|MX) */
	GC9307_ROT_180 = 2, /* portrait, flipped (MX|MY) */
	GC9307_ROT_270 = 3, /* landscape, flipped (MV|MY) */
};

/* Write MADCTL (0x36). The panel keeps the previous frame memory, so the
 * caller should redraw the whole screen afterwards.
 */
int gc9307_set_rotation(const struct device *dev, enum gc9307_rotation rotation);

/* DCS Idle Mode (0x39) / Off (0x38): reduces color expression to the MSBs
 * of R/G/B (8-color-ish) for low-power static content. */
int gc9307_set_idle(const struct device *dev, bool on);

/* SH8601 AOD (Always-On Display) mode: 0x49 on / 0x48 off. Dim, low-refresh
 * panel mode with its own brightness register (0x4A, left at its default). */
int gc9307_set_aod(const struct device *dev, bool on);

/* Experimental frame-rate control, 0 = panel default, 1..4 = progressively
 * slower. Uses the GC9xxx-style 0xE8 command; SH8601 does not document a
 * host frame-rate register, so this may be a no-op on AMOLED units. */
int gc9307_set_frame_rate(const struct device *dev, uint8_t level);

/*
 * Panel power states:
 *   0 -> display off + sleep in (0x28, 0x10)      - can be woken with 1
 *   1 -> full (re-)initialization (reset + init)  - also resets MADCTL
 *   2 -> display off + deep standby (0x4F)        - needs a reset to wake
 */
int gc9307_panel_state(const struct device *dev, int state);

#endif /* DISPLAY_GC9307_H_ */
```

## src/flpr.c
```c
/*
 * flpr.c - FLPR (VPR RISC-V) core lifecycle.
 *
 * Start/stop of the bare-metal blob. The blob is linked into this image
 * (flpr/flpr_blob.S, .incbin) and executes where it was linked (bias 0).
 * Small blobs are copied to FLPR private RAM instead, so their
 * instruction fetches never contend with the M33's on the single RRAM
 * bank.
 *
 * NDMRESET, not CPURUN, is what actually starts/halts the core: CPURUN
 * only selects the state entered after a core reset (see the MDK field
 * docs), so clearing it on a running core changes nothing until a reset
 * happens - which is why a CPURUN-only stop never halted the blob.
 * DMACTIVE powers the debug module so DMCONTROL takes effect.
 */
#include <zephyr/kernel.h>
#include <zephyr/devicetree.h>
#include <string.h>
#include <hal/nrf_vpr.h>
#include <hal/nrf_memconf.h>
#if defined(CONFIG_SOC_NRF54L_CPUAPP_COMMON) && \
	!defined(CONFIG_TRUSTED_EXECUTION_NONSECURE)
#include <hal/nrf_spu.h>
#endif

#include "flpr.h"
#include "flpr_shared.h"

/* Embedded FLPR bare-metal blob (flpr/flpr_blob.S). */
extern const uint8_t flpr_blob[];
extern const unsigned flpr_blob_size;

static NRF_VPR_Type *const vpr =
	(NRF_VPR_Type *)DT_REG_ADDR(DT_NODELABEL(cpuflpr_vpr));

/*
 * VPR power. The block draws ~0.5 mA from the moment the core has been
 * started, no matter whether it runs, sleeps (default sleep state WAIT)
 * or is held in reset - Nordic's answer to the DevZone report is that
 * only powering the block down removes it, keeping state in RAM. The
 * power-off sequence in Zephyr's z_sys_poweroff() disables retention on
 * power block 1 (the VPR): MEMCONF.POWER[1].RET bit 0. Clearing it here
 * powers the block down; flpr_start() re-enables it first.
 */
#define VPR_POWER_BLOCK 1U
#define VPR_RET_BIT 0U

static void flpr_power(bool on)
{
	nrf_memconf_ramblock_ret_enable_set(NRF_MEMCONF, VPR_POWER_BLOCK,
					    VPR_RET_BIT, on);
}

static void flpr_core_reset(void)
{
	nrf_vpr_debugif_dmcontrol_set(vpr, NRF_VPR_DMCONTROL_DMACTIVE, true);
	nrf_vpr_debugif_dmcontrol_set(vpr, NRF_VPR_DMCONTROL_NDMRESET, true);
	k_busy_wait(10);
	nrf_vpr_debugif_dmcontrol_set(vpr, NRF_VPR_DMCONTROL_NDMRESET, false);
}

bool flpr_alive(void)
{
	return FLPR_SHARED->magic == FLPR_MAGIC;
}

void flpr_clear(void)
{
	FLPR_SHARED->magic = 0U;
	/* The shared block is retained RAM: a stale profiling average (or
	 * run flag) from an earlier split run must not look live after a
	 * warm reset or an engine switch. */
	for (int i = 0; i < 4; i++) {
		FLPR_SHARED->prof[i] = 0U;
	}
	FLPR_SHARED->run = 0U;
}

int flpr_start(void)
{
	uint32_t entry;

	if (flpr_alive()) {
		return 0;
	}
	if (flpr_blob_size <= FLPR_PRIV_SIZE - 1024U) {
		/* Small blob: copy to private RAM and run there. */
		memcpy((void *)FLPR_PRIV_BASE, flpr_blob, flpr_blob_size);
		entry = FLPR_PRIV_BASE;
	} else {
		/* Engine blob: XIP straight from the array it was linked
		 * for; it cannot fit private RAM. */
		entry = (uint32_t)flpr_blob;
	}
	if ((entry & 0x7FUL) != 0U) {
		return -EINVAL;
	}
	flpr_power(true); /* the block may have been powered down by flpr_halt() */
#if defined(CONFIG_SOC_NRF54L_CPUAPP_COMMON) && \
	!defined(CONFIG_TRUSTED_EXECUTION_NONSECURE)
	nrf_spu_periph_perm_secattr_set(NRF_SPU00,
					nrf_address_slave_get((uint32_t)vpr),
					true);
#endif
	nrf_vpr_cpurun_set(vpr, false);
	nrf_vpr_initpc_set(vpr, entry);
	flpr_core_reset();
	nrf_vpr_cpurun_set(vpr, true);
	return 0;
}

void flpr_halt(void)
{
	nrf_vpr_cpurun_set(vpr, false);
	flpr_core_reset();
	flpr_clear();
	/* Power the block down: a stopped/reset VPR still draws ~0.5 mA
	 * (default sleep state WAIT). This is what z_sys_poweroff() does for
	 * the VPR before System OFF. */
	flpr_power(false);
}

/* The blob checks `run` between bursts of 512 frames (a burst is ~1 ms of
 * render), so the wait is short. Bounded anyway: a wedged blob must not
 * block the UI, and the mutation is safe enough after the timeout (the
 * blob would have to be stuck mid-burst forever). */
#define FLPR_ACK_TIMEOUT_US 50000

void flpr_render_stop(void)
{
	FLPR_SHARED->run = 0U;
	if (!flpr_alive()) {
		return;
	}
	for (int i = 0; i < FLPR_ACK_TIMEOUT_US / 100; i++) {
		if (FLPR_SHARED->run_ack == 0U) {
			return;
		}
		k_busy_wait(100);
	}
}

void flpr_render_start(void)
{
	/* Drop whatever queued while stopped: engine state is about to be
	 * (or just was) re-initialised, so those samples are stale. */
	FLPR_SHARED->read_idx = FLPR_SHARED->write_idx; /* retired */
	FLPR_SHARED->run = 1U;
}

bool flpr_rendering(void)
{
	return FLPR_SHARED->run != 0U;
}
```

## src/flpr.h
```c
/*
 * flpr.h - FLPR (VPR RISC-V) core lifecycle.
 *
 * The blob is embedded in the image (flpr/flpr_blob.S) and never starts
 * at boot (NORDIC_VPR_LAUNCHER=n). flpr_start() boots it on demand; the
 * render/stop decision itself lives in the shared mailbox
 * (flpr/flpr_shared.h), so the core can stay running between tunes.
 */
#ifndef FLPR_H_
#define FLPR_H_

#include <stdbool.h>

/* Boot the embedded blob and release the core. Does nothing (returns 0)
 * when the blob is already alive. Returns a negative errno when it cannot
 * be started (blob too big for private RAM and not aligned for XIP). */
int flpr_start(void);

/* Halt the core: reset it into the stopped state. The blob's magic is
 * cleared so the next flpr_start() boots it fresh. */
void flpr_halt(void);

/* Stop/resume the render pump. The blob owns no lock, so the M33 must
 * call flpr_render_stop() (which waits for the blob to acknowledge that
 * it left its current burst) before it mutates engine state, then
 * flpr_render_start() afterwards. */
void flpr_render_stop(void);
void flpr_render_start(void);

/* True when the blob is currently rendering (the M33's `run` request). */
bool flpr_rendering(void);

/* True when the blob has published its magic since the last halt/reset. */
bool flpr_alive(void);

/* Clear the rendezvous without touching the core (boot: a stale magic
 * from retained SRAM must never fake a live blob). */
void flpr_clear(void);

#endif /* FLPR_H_ */
```

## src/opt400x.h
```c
/*
 * opt400x.h - extra controls for the reconstructed OPT4001/OPT300x
 *                   ambient light sensor driver.
 */
#ifndef SAPHE_OPT400X_H_
#define SAPHE_OPT400X_H_

#include <zephyr/device.h>

/*
 * Set the conversion time (the CT toggle on the demo's button rows):
 *   OPT4001: reg 0x0A bits 9-6, ct 0 = 600 us ... 8 = 100 ms, 11 = 800 ms
 *   OPT300x: reg 0x01 bit 11,  ct >= 10 = 800 ms, otherwise 100 ms
 * Longer integration = finer low-light resolution, slower updates.
 */
int opt400x_set_conversion_time(const struct device *dev, uint8_t ct);

/* Current conversion time in ms (100 or 800), or a negative errno. */
int opt400x_get_conversion_time(const struct device *dev);

#endif /* SAPHE_OPT400X_H_ */
```
